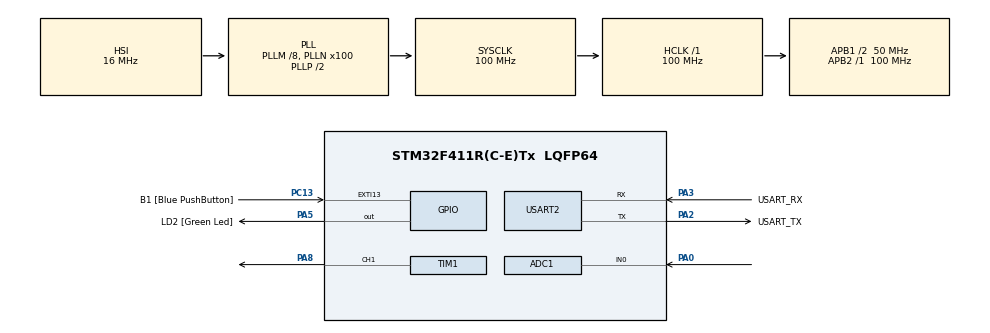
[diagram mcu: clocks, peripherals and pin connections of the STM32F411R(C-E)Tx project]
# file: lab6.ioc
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Mcu.Family=STM32F4
RCC.CortexFreq_Value=100000000
PA14.GPIO_Label=TCK
RCC.SYSCLKSource=RCC_SYSCLKSOURCE_PLLCLK
ProjectManager.StackSize=0x400
NVIC.ADC_IRQn=true\:0\:0\:false\:false\:true\:true\:true
PH0\ -\ OSC_IN.Signal=RCC_OSC_IN
RCC.HCLKFreq_Value=100000000
RCC.APB2TimFreq_Value=100000000
TIM3.Period=1000
RCC.AHBFreq_Value=100000000
ADC1.Channel-0\#ChannelRegularConversion=ADC_CHANNEL_0
NVIC.TIM1_TRG_COM_TIM11_IRQn=true\:0\:0\:false\:false\:true\:true\:true
RCC.HSE_VALUE=8000000
PC13-ANTI_TAMP.Signal=GPXTI13
PC14-OSC32_IN.Mode=LSE-External-Oscillator
TIM1.Channel-PWM\ Generation1\ CH1=TIM_CHANNEL_1
PA14.Mode=Serial_Wire
TIM3.Prescaler=99
PA8.Signal=S_TIM1_CH1
SH.ADCx_IN0.0=ADC1_IN0,IN0
VP_TIM1_VS_ClockSourceINT.Mode=Internal
ADC1.SamplingTime-0\#ChannelRegularConversion=ADC_SAMPLETIME_480CYCLES
RCC.FLatency-AdvancedSettings=FLASH_LATENCY_3
Mcu.Package=LQFP64
USART2.VirtualMode=VM_ASYNC
PA2.GPIO_Label=USART_TX
RCC.APB1TimFreq_Value=100000000
TIM1.Period=10000
VP_TIM3_VS_ClockSourceINT.Mode=Internal
PA3.Signal=USART2_RX
PB3.GPIO_Label=SWO
PC15-OSC32_OUT.Mode=LSE-External-Oscillator
ADC1.Rank-0\#ChannelRegularConversion=1
PC13-ANTI_TAMP.GPIO_Label=B1 [Blue PushButton]
PH1\ -\ OSC_OUT.Mode=HSE-External-Clock-Source
TIM11.Prescaler=99
RCC.APB1CLKDivider=RCC_HCLK_DIV2
PC14-OSC32_IN.Signal=RCC_OSC32_IN
PA0-WKUP.Signal=ADCx_IN0
VP_TIM11_VS_ClockSourceINT.Mode=Enable_Timer
PA13.Signal=SYS_JTMS-SWDIO
PA3.Mode=Asynchronous
PH0\ -\ OSC_IN.Mode=HSE-External-Clock-Source
SH.S_TIM1_CH1.0=TIM1_CH1,PWM Generation1 CH1
ProjectManager.TargetToolchain=STM32CubeIDE
PC15-OSC32_OUT.Signal=RCC_OSC32_OUT
PA5.Signal=GPIO_Output
PH1\ -\ OSC_OUT.Signal=RCC_OSC_OUT
board=NUCLEO-F411RE
RCC.VCOOutputFreq_Value=200000000
RCC.APB2Freq_Value=100000000
PA13.Mode=Serial_Wire
Mcu.Name=STM32F411R(C-E)Tx
PA13.GPIO_Label=TMS
PA2.Signal=USART2_TX
ADC1.ExternalTrigConv=ADC_EXTERNALTRIGCONV_T3_TRGO
RCC.48MHZClocksFreq_Value=50000000
PB3.Signal=SYS_JTDO-SWO
RCC.SYSCLKFreq_VALUE=100000000
ADC1.master=1
PA5.GPIO_Label=LD2 [Green Led]
PC13-ANTI_TAMP.GPIO_ModeDefaultEXTI=GPIO_MODE_IT_FALLING
PA14.Signal=SYS_JTCK-SWCLK
ProjectManager.HeapSize=0x200
RCC.HSI_VALUE=16000000
NVIC.PriorityGroup=NVIC_PRIORITYGROUP_0
ADC1.NbrOfConversionFlag=1
RCC.PLLM=8
RCC.PLLN=100
PA2.Mode=Asynchronous
TIM3.TIM_MasterOutputTrigger=TIM_TRGO_UPDATE
RCC.APB1Freq_Value=50000000
PA3.GPIO_Label=USART_RX

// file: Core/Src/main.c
/* USER CODE BEGIN Header */
/**
  ******************************************************************************
  * @file           : main.c
  * @brief          : Main program body
  ******************************************************************************
  * @attention
  *
  * <h2><center>&copy; Copyright (c) 2021 STMicroelectronics.
  * All rights reserved.</center></h2>
  *
  * This software component is licensed by ST under BSD 3-Clause license,
  * the "License"; You may not use this file except in compliance with the
  * License. You may obtain a copy of the License at:
  *                        opensource.org/licenses/BSD-3-Clause
  *
  ******************************************************************************
  */
/* USER CODE END Header */
#include "main.h"

ADC_HandleTypeDef hadc1;

TIM_HandleTypeDef htim1;
TIM_HandleTypeDef htim3;
TIM_HandleTypeDef htim11;

UART_HandleTypeDef huart2;

/* USER CODE BEGIN PV */

uint8_t ADCUpdateFlag = 0;
//Store ADC Value
uint16_t ADCFeedBack = 0;
float ADCV = 0.000 ;
float ADCV2 = 0.000 ;
uint16_t PWMOut = 5000;
uint16_t PWMOut2 = 3000;
uint64_t _micro = 0;
uint64_t TimeOutputLoop = 0;

/* USER CODE END PV */

void SystemClock_Config(void);
static void MX_GPIO_Init(void);
static void MX_USART2_UART_Init(void);
static void MX_ADC1_Init(void);
static void MX_TIM1_Init(void);
static void MX_TIM3_Init(void);
static void MX_TIM11_Init(void);
/* USER CODE BEGIN PFP */
uint64_t micros();
void PID() ;
void P_control() ;
/* USER CODE END PFP */

int main(void)
{

  /* MCU Configuration--------------------------------------------------------*/

  /* Reset of all peripherals, Initializes the Flash interface and the Systick. */
  HAL_Init();

  /* Configure the system clock */
  SystemClock_Config();

  /* Initialize all configured peripherals */
  MX_GPIO_Init();
  MX_USART2_UART_Init();
  MX_ADC1_Init();
  MX_TIM1_Init();
  MX_TIM3_Init();
  MX_TIM11_Init();
  /* USER CODE BEGIN 2 */

	HAL_ADC_Start_IT(&hadc1);
	HAL_TIM_Base_Start(&htim3);
	// start pwm
	HAL_TIM_Base_Start(&htim1);
	HAL_TIM_PWM_Start(&htim1, TIM_CHANNEL_1);
	// start micros
	HAL_TIM_Base_Start_IT(&htim11);

  /* USER CODE END 2 */

  /* Infinite loop */
  while (1)
  {

    /* USER CODE BEGIN 3 */
	  //ADCV = ADCFeedBack*3.3 / 4096 ;
	  		//1 Khz Loop
	  		if (micros() - TimeOutputLoop >= 1000)//uS
	  		{
	  			TimeOutputLoop = micros();
	  			// #001

	  			__HAL_TIM_SET_COMPARE(&htim1, TIM_CHANNEL_1, PWMOut);
	  			//__HAL_TIM_SET_COMPARE(&htim1, TIM_CHANNEL_1, PWMOut2);
	  			PID() ;
	  			//P_control() ;
//	  			if(ADCV != 1.000 )
//	  		  	  {
//	  		  			if(ADCV < 1.000)
//	  		  			{
//	  		  				PWMOut = PWMOut + 1 ;
//	  		  			}
//	  		  			else
//	  		  			{
//	  		  				PWMOut = PWMOut - 1 ;
//	  		  			}
//						PWMOut = Kp * (1.000 - ADCV) * micros() ;
//	  		  		}

  		}

	  		if (ADCUpdateFlag)
	  		{
	  			ADCUpdateFlag = 0;
	  			//#00
	  		}

	  		/*if(ADCV != 1.000 )
	  		{
	  			if(ADCV < 1.000)
	  			{
	  				PWMOut = PWMOut + 1 ;
	  			}
	  			else
	  			{
	  				PWMOut = PWMOut - 1 ;
	  			}

	  		}*/

  }
  /* USER CODE END 3 */
}

void SystemClock_Config(void)
{
  RCC_OscInitTypeDef RCC_OscInitStruct = {0};
  RCC_ClkInitTypeDef RCC_ClkInitStruct = {0};

  /** Configure the main internal regulator output voltage
  */
  __HAL_RCC_PWR_CLK_ENABLE();
  __HAL_PWR_VOLTAGESCALING_CONFIG(PWR_REGULATOR_VOLTAGE_SCALE1);
  /** Initializes the RCC Oscillators according to the specified parameters
  * in the RCC_OscInitTypeDef structure.
  */
  RCC_OscInitStruct.OscillatorType = RCC_OSCILLATORTYPE_HSI;
  RCC_OscInitStruct.HSIState = RCC_HSI_ON;
  RCC_OscInitStruct.HSICalibrationValue = RCC_HSICALIBRATION_DEFAULT;
  RCC_OscInitStruct.PLL.PLLState = RCC_PLL_ON;
  RCC_OscInitStruct.PLL.PLLSource = RCC_PLLSOURCE_HSI;
  RCC_OscInitStruct.PLL.PLLM = 8;
  RCC_OscInitStruct.PLL.PLLN = 100;
  RCC_OscInitStruct.PLL.PLLP = RCC_PLLP_DIV2;
  RCC_OscInitStruct.PLL.PLLQ = 4;
  if (HAL_RCC_OscConfig(&RCC_OscInitStruct) != HAL_OK)
  {
    Error_Handler();
  }
  /** Initializes the CPU, AHB and APB buses clocks
  */
  RCC_ClkInitStruct.ClockType = RCC_CLOCKTYPE_HCLK|RCC_CLOCKTYPE_SYSCLK
                              |RCC_CLOCKTYPE_PCLK1|RCC_CLOCKTYPE_PCLK2;
  RCC_ClkInitStruct.SYSCLKSource = RCC_SYSCLKSOURCE_PLLCLK;
  RCC_ClkInitStruct.AHBCLKDivider = RCC_SYSCLK_DIV1;
  RCC_ClkInitStruct.APB1CLKDivider = RCC_HCLK_DIV2;
  RCC_ClkInitStruct.APB2CLKDivider = RCC_HCLK_DIV1;

  if (HAL_RCC_ClockConfig(&RCC_ClkInitStruct, FLASH_LATENCY_3) != HAL_OK)
  {
    Error_Handler();
  }
}

static void MX_ADC1_Init(void)
{

  ADC_ChannelConfTypeDef sConfig = {0};

  /** Configure the global features of the ADC (Clock, Resolution, Data Alignment and number of conversion)
  */
  hadc1.Instance = ADC1;
  hadc1.Init.ClockPrescaler = ADC_CLOCK_SYNC_PCLK_DIV4;
  hadc1.Init.Resolution = ADC_RESOLUTION_12B;
  hadc1.Init.ScanConvMode = DISABLE;
  hadc1.Init.ContinuousConvMode = DISABLE;
  hadc1.Init.DiscontinuousConvMode = DISABLE;
  hadc1.Init.ExternalTrigConvEdge = ADC_EXTERNALTRIGCONVEDGE_RISING;
  hadc1.Init.ExternalTrigConv = ADC_EXTERNALTRIGCONV_T3_TRGO;
  hadc1.Init.DataAlign = ADC_DATAALIGN_RIGHT;
  hadc1.Init.NbrOfConversion = 1;
  hadc1.Init.DMAContinuousRequests = DISABLE;
  hadc1.Init.EOCSelection = ADC_EOC_SINGLE_CONV;
  if (HAL_ADC_Init(&hadc1) != HAL_OK)
  {
    Error_Handler();
  }
  /** Configure for the selected ADC regular channel its corresponding rank in the sequencer and its sample time.
  */
  sConfig.Channel = ADC_CHANNEL_0;
  sConfig.Rank = 1;
  sConfig.SamplingTime = ADC_SAMPLETIME_480CYCLES;
  if (HAL_ADC_ConfigChannel(&hadc1, &sConfig) != HAL_OK)
  {
    Error_Handler();
  }

}

static void MX_TIM1_Init(void)
{

  TIM_ClockConfigTypeDef sClockSourceConfig = {0};
  TIM_MasterConfigTypeDef sMasterConfig = {0};
  TIM_OC_InitTypeDef sConfigOC = {0};
  TIM_BreakDeadTimeConfigTypeDef sBreakDeadTimeConfig = {0};

  htim1.Instance = TIM1;
  htim1.Init.Prescaler = 0;
  htim1.Init.CounterMode = TIM_COUNTERMODE_UP;
  htim1.Init.Period = 10000;
  htim1.Init.ClockDivision = TIM_CLOCKDIVISION_DIV1;
  htim1.Init.RepetitionCounter = 0;
  htim1.Init.AutoReloadPreload = TIM_AUTORELOAD_PRELOAD_DISABLE;
  if (HAL_TIM_Base_Init(&htim1) != HAL_OK)
  {
    Error_Handler();
  }
  sClockSourceConfig.ClockSource = TIM_CLOCKSOURCE_INTERNAL;
  if (HAL_TIM_ConfigClockSource(&htim1, &sClockSourceConfig) != HAL_OK)
  {
    Error_Handler();
  }
  if (HAL_TIM_PWM_Init(&htim1) != HAL_OK)
  {
    Error_Handler();
  }
  sMasterConfig.MasterOutputTrigger = TIM_TRGO_RESET;
  sMasterConfig.MasterSlaveMode = TIM_MASTERSLAVEMODE_DISABLE;
  if (HAL_TIMEx_MasterConfigSynchronization(&htim1, &sMasterConfig) != HAL_OK)
  {
    Error_Handler();
  }
  sConfigOC.OCMode = TIM_OCMODE_PWM1;
  sConfigOC.Pulse = 0;
  sConfigOC.OCPolarity = TIM_OCPOLARITY_HIGH;
  sConfigOC.OCNPolarity = TIM_OCNPOLARITY_HIGH;
  sConfigOC.OCFastMode = TIM_OCFAST_DISABLE;
  sConfigOC.OCIdleState = TIM_OCIDLESTATE_RESET;
  sConfigOC.OCNIdleState = TIM_OCNIDLESTATE_RESET;
  if (HAL_TIM_PWM_ConfigChannel(&htim1, &sConfigOC, TIM_CHANNEL_1) != HAL_OK)
  {
    Error_Handler();
  }
  sBreakDeadTimeConfig.OffStateRunMode = TIM_OSSR_DISABLE;
  sBreakDeadTimeConfig.OffStateIDLEMode = TIM_OSSI_DISABLE;
  sBreakDeadTimeConfig.LockLevel = TIM_LOCKLEVEL_OFF;
  sBreakDeadTimeConfig.DeadTime = 0;
  sBreakDeadTimeConfig.BreakState = TIM_BREAK_DISABLE;
  sBreakDeadTimeConfig.BreakPolarity = TIM_BREAKPOLARITY_HIGH;
  sBreakDeadTimeConfig.AutomaticOutput = TIM_AUTOMATICOUTPUT_DISABLE;
  if (HAL_TIMEx_ConfigBreakDeadTime(&htim1, &sBreakDeadTimeConfig) != HAL_OK)
  {
    Error_Handler();
  }
  HAL_TIM_MspPostInit(&htim1);

}

static void MX_TIM3_Init(void)
{

  TIM_ClockConfigTypeDef sClockSourceConfig = {0};
  TIM_MasterConfigTypeDef sMasterConfig = {0};

  htim3.Instance = TIM3;
  htim3.Init.Prescaler = 99;
  htim3.Init.CounterMode = TIM_COUNTERMODE_UP;
  htim3.Init.Period = 1000;
  htim3.Init.ClockDivision = TIM_CLOCKDIVISION_DIV1;
  htim3.Init.AutoReloadPreload = TIM_AUTORELOAD_PRELOAD_DISABLE;
  if (HAL_TIM_Base_Init(&htim3) != HAL_OK)
  {
    Error_Handler();
  }
  sClockSourceConfig.ClockSource = TIM_CLOCKSOURCE_INTERNAL;
  if (HAL_TIM_ConfigClockSource(&htim3, &sClockSourceConfig) != HAL_OK)
  {
    Error_Handler();
  }
  sMasterConfig.MasterOutputTrigger = TIM_TRGO_UPDATE;
  sMasterConfig.MasterSlaveMode = TIM_MASTERSLAVEMODE_DISABLE;
  if (HAL_TIMEx_MasterConfigSynchronization(&htim3, &sMasterConfig) != HAL_OK)
  {
    Error_Handler();
  }

}

static void MX_TIM11_Init(void)
{

  htim11.Instance = TIM11;
  htim11.Init.Prescaler = 99;
  htim11.Init.CounterMode = TIM_COUNTERMODE_UP;
  htim11.Init.Period = 65535;
  htim11.Init.ClockDivision = TIM_CLOCKDIVISION_DIV1;
  htim11.Init.AutoReloadPreload = TIM_AUTORELOAD_PRELOAD_DISABLE;
  if (HAL_TIM_Base_Init(&htim11) != HAL_OK)
  {
    Error_Handler();
  }

}

static void MX_USART2_UART_Init(void)
{

  huart2.Instance = USART2;
  huart2.Init.BaudRate = 115200;
  huart2.Init.WordLength = UART_WORDLENGTH_8B;
  huart2.Init.StopBits = UART_STOPBITS_1;
  huart2.Init.Parity = UART_PARITY_NONE;
  huart2.Init.Mode = UART_MODE_TX_RX;
  huart2.Init.HwFlowCtl = UART_HWCONTROL_NONE;
  huart2.Init.OverSampling = UART_OVERSAMPLING_16;
  if (HAL_UART_Init(&huart2) != HAL_OK)
  {
    Error_Handler();
  }

}

static void MX_GPIO_Init(void)
{
  GPIO_InitTypeDef GPIO_InitStruct = {0};

  /* GPIO Ports Clock Enable */
  __HAL_RCC_GPIOC_CLK_ENABLE();
  __HAL_RCC_GPIOH_CLK_ENABLE();
  __HAL_RCC_GPIOA_CLK_ENABLE();
  __HAL_RCC_GPIOB_CLK_ENABLE();

  /*Configure GPIO pin Output Level */
  HAL_GPIO_WritePin(LD2_GPIO_Port, LD2_Pin, GPIO_PIN_RESET);

  /*Configure GPIO pin : B1_Pin */
  GPIO_InitStruct.Pin = B1_Pin;
  GPIO_InitStruct.Mode = GPIO_MODE_IT_FALLING;
  GPIO_InitStruct.Pull = GPIO_NOPULL;
  HAL_GPIO_Init(B1_GPIO_Port, &GPIO_InitStruct);

  /*Configure GPIO pin : LD2_Pin */
  GPIO_InitStruct.Pin = LD2_Pin;
  GPIO_InitStruct.Mode = GPIO_MODE_OUTPUT_PP;
  GPIO_InitStruct.Pull = GPIO_NOPULL;
  GPIO_InitStruct.Speed = GPIO_SPEED_FREQ_LOW;
  HAL_GPIO_Init(LD2_GPIO_Port, &GPIO_InitStruct);

}

/* USER CODE BEGIN 4 */

void HAL_ADC_ConvCpltCallback(ADC_HandleTypeDef *hadc)
{
	ADCFeedBack = HAL_ADC_GetValue(&hadc1);
	ADCV = (ADCFeedBack*3.3) / 4096;
	ADCV2  = (ADCFeedBack*3.3) / 4096;
	ADCUpdateFlag = 1;
}
void HAL_TIM_PeriodElapsedCallback(TIM_HandleTypeDef *htim)
{
	if (htim == &htim11)
	{
		_micro += 65535;
	}
}

__inline__ uint64_t micros()
{
	return _micro + htim11.Instance->CNT;
}
void PID()
{
	uint64_t dt = micros() ;
	float setpoint = 1.00 ;
	double Kp = 1 , Ki = 1.5 , Kd = 0.5 ;
	double  previous_error = 0 , integral = 0 , error =0 ,  derivative = 0 ;
	previous_error = setpoint - ADCV ;
	integral = 0 ;
	error = setpoint - ADCV ;
	integral = integral + (error*dt) ;
	derivative = (error - previous_error)/dt ;
	PWMOut = (Kp*error*dt) ;
	previous_error = error ;
	//dt = 0 ;
}
void P_control()
{
	double setpoint = 1.000 ;
	double Kp = 2 , error = 0  ;
	error = setpoint - ADCV ;
	PWMOut = PWMOut + (Kp * error);

}

/* USER CODE END 4 */

void Error_Handler(void)
{
  __disable_irq();
  while (1)
  {
  }
}

/************************ (C) COPYRIGHT STMicroelectronics *****END OF FILE****/
